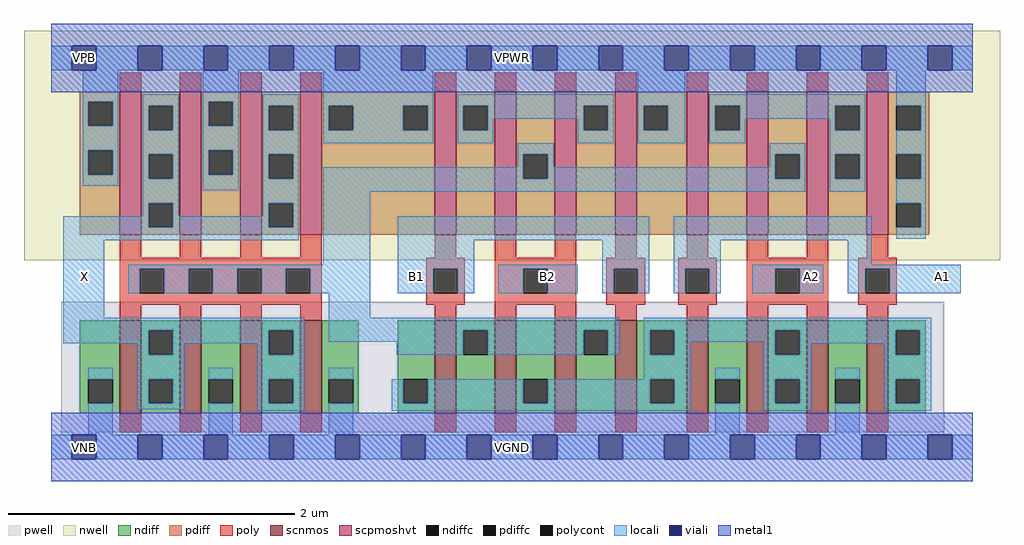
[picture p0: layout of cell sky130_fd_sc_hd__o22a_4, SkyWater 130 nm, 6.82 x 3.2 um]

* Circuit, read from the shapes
.subckt sky130_fd_sc_hd__o22a_4 A1 A2 B1 B2 VGND VNB VPB VPWR X
XM1 X n1 VGND VNB sky130_fd_pr__nfet_01v8 w=0.65 l=0.15 m=4
XM2 n1 B1 n2 VNB sky130_fd_pr__nfet_01v8 w=0.65 l=0.15 m=2
XM3 n2 B2 n1 VNB sky130_fd_pr__nfet_01v8 w=0.65 l=0.15 m=2
XM4 VGND A1 n2 VNB sky130_fd_pr__nfet_01v8 w=0.65 l=0.15 m=2
XM5 n2 A2 VGND VNB sky130_fd_pr__nfet_01v8 w=0.65 l=0.15 m=2
XM6 X n1 VPWR VPB sky130_fd_pr__pfet_01v8_hvt w=1 l=0.15 m=4
XM7 n3 B1 VPWR VPB sky130_fd_pr__pfet_01v8_hvt w=1 l=0.15 m=2
XM8 n1 B2 n3 VPB sky130_fd_pr__pfet_01v8_hvt w=1 l=0.15 m=2
XM9 n4 A1 VPWR VPB sky130_fd_pr__pfet_01v8_hvt w=1 l=0.15 m=2
XM10 n1 A2 n4 VPB sky130_fd_pr__pfet_01v8_hvt w=1 l=0.15 m=2
.ends

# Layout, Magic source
magic
tech sky130A
magscale 1 2
<< nwell >>
rect -38 261 1326 582
<< pwell >>
rect 14 21 1248 203
rect 29 -17 63 21
<< scnmos >>
rect 96 47 126 177
rect 180 47 210 177
rect 264 47 294 177
rect 348 47 378 177
rect 536 47 566 177
rect 620 47 650 177
rect 704 47 734 177
rect 788 47 818 177
rect 888 47 918 177
rect 972 47 1002 177
rect 1056 47 1086 177
rect 1140 47 1170 177
<< scpmoshvt >>
rect 96 297 126 497
rect 180 297 210 497
rect 264 297 294 497
rect 348 297 378 497
rect 536 297 566 497
rect 620 297 650 497
rect 704 297 734 497
rect 788 297 818 497
rect 888 297 918 497
rect 972 297 1002 497
rect 1056 297 1086 497
rect 1140 297 1170 497
<< ndiff >>
rect 40 95 96 177
rect 40 61 52 95
rect 86 61 96 95
rect 40 47 96 61
rect 126 163 180 177
rect 126 129 136 163
rect 170 129 180 163
rect 126 95 180 129
rect 126 61 136 95
rect 170 61 180 95
rect 126 47 180 61
rect 210 95 264 177
rect 210 61 220 95
rect 254 61 264 95
rect 210 47 264 61
rect 294 163 348 177
rect 294 129 304 163
rect 338 129 348 163
rect 294 95 348 129
rect 294 61 304 95
rect 338 61 348 95
rect 294 47 348 61
rect 378 95 430 177
rect 378 61 388 95
rect 422 61 430 95
rect 378 47 430 61
rect 484 95 536 177
rect 484 61 492 95
rect 526 61 536 95
rect 484 47 536 61
rect 566 163 620 177
rect 566 129 576 163
rect 610 129 620 163
rect 566 47 620 129
rect 650 95 704 177
rect 650 61 660 95
rect 694 61 704 95
rect 650 47 704 61
rect 734 163 788 177
rect 734 129 744 163
rect 778 129 788 163
rect 734 47 788 129
rect 818 163 888 177
rect 818 129 837 163
rect 871 129 888 163
rect 818 95 888 129
rect 818 61 837 95
rect 871 61 888 95
rect 818 47 888 61
rect 918 95 972 177
rect 918 61 928 95
rect 962 61 972 95
rect 918 47 972 61
rect 1002 163 1056 177
rect 1002 129 1012 163
rect 1046 129 1056 163
rect 1002 95 1056 129
rect 1002 61 1012 95
rect 1046 61 1056 95
rect 1002 47 1056 61
rect 1086 95 1140 177
rect 1086 61 1096 95
rect 1130 61 1140 95
rect 1086 47 1140 61
rect 1170 163 1222 177
rect 1170 129 1180 163
rect 1214 129 1222 163
rect 1170 95 1222 129
rect 1170 61 1180 95
rect 1214 61 1222 95
rect 1170 47 1222 61
<< pdiff >>
rect 40 483 96 497
rect 40 449 52 483
rect 86 449 96 483
rect 40 415 96 449
rect 40 381 52 415
rect 86 381 96 415
rect 40 297 96 381
rect 126 477 180 497
rect 126 443 136 477
rect 170 443 180 477
rect 126 409 180 443
rect 126 375 136 409
rect 170 375 180 409
rect 126 341 180 375
rect 126 307 136 341
rect 170 307 180 341
rect 126 297 180 307
rect 210 483 264 497
rect 210 449 220 483
rect 254 449 264 483
rect 210 415 264 449
rect 210 381 220 415
rect 254 381 264 415
rect 210 297 264 381
rect 294 477 348 497
rect 294 443 304 477
rect 338 443 348 477
rect 294 409 348 443
rect 294 375 304 409
rect 338 375 348 409
rect 294 341 348 375
rect 294 307 304 341
rect 338 307 348 341
rect 294 297 348 307
rect 378 477 536 497
rect 378 443 388 477
rect 422 443 492 477
rect 526 443 536 477
rect 378 297 536 443
rect 566 477 620 497
rect 566 443 576 477
rect 610 443 620 477
rect 566 297 620 443
rect 650 409 704 497
rect 650 375 660 409
rect 694 375 704 409
rect 650 297 704 375
rect 734 477 788 497
rect 734 443 744 477
rect 778 443 788 477
rect 734 297 788 443
rect 818 477 888 497
rect 818 443 828 477
rect 862 443 888 477
rect 818 297 888 443
rect 918 477 972 497
rect 918 443 928 477
rect 962 443 972 477
rect 918 297 972 443
rect 1002 409 1056 497
rect 1002 375 1012 409
rect 1046 375 1056 409
rect 1002 297 1056 375
rect 1086 477 1140 497
rect 1086 443 1096 477
rect 1130 443 1140 477
rect 1086 409 1140 443
rect 1086 375 1096 409
rect 1130 375 1140 409
rect 1086 297 1140 375
rect 1170 477 1227 497
rect 1170 443 1181 477
rect 1215 443 1227 477
rect 1170 409 1227 443
rect 1170 375 1181 409
rect 1215 375 1227 409
rect 1170 341 1227 375
rect 1170 307 1181 341
rect 1215 307 1227 341
rect 1170 297 1227 307
<< ndiffc >>
rect 52 61 86 95
rect 136 129 170 163
rect 136 61 170 95
rect 220 61 254 95
rect 304 129 338 163
rect 304 61 338 95
rect 388 61 422 95
rect 492 61 526 95
rect 576 129 610 163
rect 660 61 694 95
rect 744 129 778 163
rect 837 129 871 163
rect 837 61 871 95
rect 928 61 962 95
rect 1012 129 1046 163
rect 1012 61 1046 95
rect 1096 61 1130 95
rect 1180 129 1214 163
rect 1180 61 1214 95
<< pdiffc >>
rect 52 449 86 483
rect 52 381 86 415
rect 136 443 170 477
rect 136 375 170 409
rect 136 307 170 341
rect 220 449 254 483
rect 220 381 254 415
rect 304 443 338 477
rect 304 375 338 409
rect 304 307 338 341
rect 388 443 422 477
rect 492 443 526 477
rect 576 443 610 477
rect 660 375 694 409
rect 744 443 778 477
rect 828 443 862 477
rect 928 443 962 477
rect 1012 375 1046 409
rect 1096 443 1130 477
rect 1096 375 1130 409
rect 1181 443 1215 477
rect 1181 375 1215 409
rect 1181 307 1215 341
<< poly >>
rect 96 497 126 523
rect 180 497 210 523
rect 264 497 294 523
rect 348 497 378 523
rect 536 497 566 523
rect 620 497 650 523
rect 704 497 734 523
rect 788 497 818 523
rect 888 497 918 523
rect 972 497 1002 523
rect 1056 497 1086 523
rect 1140 497 1170 523
rect 96 265 126 297
rect 180 265 210 297
rect 264 265 294 297
rect 348 265 378 297
rect 536 265 566 297
rect 620 265 650 297
rect 704 265 734 297
rect 788 265 818 297
rect 888 265 918 297
rect 972 265 1002 297
rect 1056 265 1086 297
rect 1140 265 1170 297
rect 96 249 378 265
rect 96 215 124 249
rect 158 215 192 249
rect 226 215 260 249
rect 294 215 328 249
rect 362 215 378 249
rect 96 199 378 215
rect 524 249 578 265
rect 524 215 534 249
rect 568 215 578 249
rect 524 199 578 215
rect 620 249 734 265
rect 620 215 660 249
rect 694 215 734 249
rect 620 199 734 215
rect 776 249 830 265
rect 776 215 786 249
rect 820 215 830 249
rect 776 199 830 215
rect 876 249 930 265
rect 876 215 886 249
rect 920 215 930 249
rect 876 199 930 215
rect 972 249 1086 265
rect 972 215 1012 249
rect 1046 215 1086 249
rect 972 199 1086 215
rect 1128 249 1182 265
rect 1128 215 1138 249
rect 1172 215 1182 249
rect 1128 199 1182 215
rect 96 177 126 199
rect 180 177 210 199
rect 264 177 294 199
rect 348 177 378 199
rect 536 177 566 199
rect 620 177 650 199
rect 704 177 734 199
rect 788 177 818 199
rect 888 177 918 199
rect 972 177 1002 199
rect 1056 177 1086 199
rect 1140 177 1170 199
rect 96 21 126 47
rect 180 21 210 47
rect 264 21 294 47
rect 348 21 378 47
rect 536 21 566 47
rect 620 21 650 47
rect 704 21 734 47
rect 788 21 818 47
rect 888 21 918 47
rect 972 21 1002 47
rect 1056 21 1086 47
rect 1140 21 1170 47
<< polycont >>
rect 124 215 158 249
rect 192 215 226 249
rect 260 215 294 249
rect 328 215 362 249
rect 534 215 568 249
rect 660 215 694 249
rect 786 215 820 249
rect 886 215 920 249
rect 1012 215 1046 249
rect 1138 215 1172 249
<< locali >>
rect 0 527 29 561
rect 63 527 121 561
rect 155 527 213 561
rect 247 527 305 561
rect 339 527 397 561
rect 431 527 489 561
rect 523 527 581 561
rect 615 527 673 561
rect 707 527 765 561
rect 799 527 857 561
rect 891 527 949 561
rect 983 527 1041 561
rect 1075 527 1133 561
rect 1167 527 1225 561
rect 1259 527 1288 561
rect 44 483 94 527
rect 44 449 52 483
rect 86 449 94 483
rect 44 415 94 449
rect 44 381 52 415
rect 86 381 94 415
rect 44 365 94 381
rect 128 477 178 493
rect 128 443 136 477
rect 170 443 178 477
rect 128 409 178 443
rect 128 375 136 409
rect 170 375 178 409
rect 128 341 178 375
rect 212 483 262 527
rect 212 449 220 483
rect 254 449 262 483
rect 212 415 262 449
rect 212 381 220 415
rect 254 381 262 415
rect 212 359 262 381
rect 296 477 346 493
rect 296 443 304 477
rect 338 443 346 477
rect 296 409 346 443
rect 380 477 534 527
rect 380 443 388 477
rect 422 443 492 477
rect 526 443 534 477
rect 380 425 534 443
rect 568 477 786 493
rect 568 443 576 477
rect 610 459 744 477
rect 610 443 618 459
rect 568 425 618 443
rect 736 443 744 459
rect 778 443 786 477
rect 736 425 786 443
rect 820 477 886 527
rect 820 443 828 477
rect 862 443 886 477
rect 820 425 886 443
rect 920 477 1138 493
rect 920 443 928 477
rect 962 459 1096 477
rect 962 443 970 459
rect 920 425 970 443
rect 1088 443 1096 459
rect 1130 443 1138 477
rect 296 375 304 409
rect 338 375 346 409
rect 652 409 702 425
rect 652 391 660 409
rect 128 323 136 341
rect 17 307 136 323
rect 170 323 178 341
rect 296 341 346 375
rect 296 323 304 341
rect 170 307 304 323
rect 338 307 346 341
rect 17 289 346 307
rect 380 375 660 391
rect 694 391 702 409
rect 1004 409 1054 425
rect 1004 391 1012 409
rect 694 375 1012 391
rect 1046 375 1054 409
rect 380 357 1054 375
rect 1088 409 1138 443
rect 1088 375 1096 409
rect 1130 375 1138 409
rect 1088 357 1138 375
rect 1181 477 1222 527
rect 1215 443 1222 477
rect 1181 409 1222 443
rect 1215 375 1222 409
rect 17 181 74 289
rect 380 255 446 357
rect 1181 341 1222 375
rect 108 249 446 255
rect 108 215 124 249
rect 158 215 192 249
rect 226 215 260 249
rect 294 215 328 249
rect 362 215 446 249
rect 484 289 836 323
rect 484 249 591 289
rect 484 215 534 249
rect 568 215 591 249
rect 625 249 736 255
rect 625 215 660 249
rect 694 215 736 249
rect 770 249 836 289
rect 770 215 786 249
rect 820 215 836 249
rect 870 289 1147 323
rect 1215 307 1222 341
rect 1181 291 1222 307
rect 870 249 936 289
rect 1113 255 1147 289
rect 870 215 886 249
rect 920 215 936 249
rect 980 249 1079 255
rect 980 215 1012 249
rect 1046 215 1079 249
rect 1113 249 1271 255
rect 1113 215 1138 249
rect 1172 215 1271 249
rect 388 181 446 215
rect 17 163 354 181
rect 17 145 136 163
rect 120 129 136 145
rect 170 145 304 163
rect 170 129 186 145
rect 52 95 86 111
rect 52 17 86 61
rect 120 95 186 129
rect 288 129 304 145
rect 338 129 354 163
rect 388 163 794 181
rect 388 147 576 163
rect 483 129 576 147
rect 610 129 744 163
rect 778 129 794 163
rect 828 163 1230 181
rect 828 129 837 163
rect 871 147 1012 163
rect 871 129 894 147
rect 120 61 136 95
rect 170 61 186 95
rect 120 53 186 61
rect 220 95 254 111
rect 220 17 254 61
rect 288 95 354 129
rect 288 61 304 95
rect 338 61 354 95
rect 288 51 354 61
rect 388 95 422 111
rect 828 95 894 129
rect 996 129 1012 147
rect 1046 145 1180 163
rect 1046 129 1062 145
rect 388 17 422 61
rect 476 61 492 95
rect 526 61 660 95
rect 694 61 837 95
rect 871 61 894 95
rect 476 51 894 61
rect 928 95 962 111
rect 928 17 962 61
rect 996 95 1062 129
rect 1164 129 1180 145
rect 1214 129 1230 163
rect 996 61 1012 95
rect 1046 61 1062 95
rect 996 51 1062 61
rect 1096 95 1130 111
rect 1096 17 1130 61
rect 1164 95 1230 129
rect 1164 61 1180 95
rect 1214 61 1230 95
rect 1164 51 1230 61
rect 0 -17 29 17
rect 63 -17 121 17
rect 155 -17 213 17
rect 247 -17 305 17
rect 339 -17 397 17
rect 431 -17 489 17
rect 523 -17 581 17
rect 615 -17 673 17
rect 707 -17 765 17
rect 799 -17 857 17
rect 891 -17 949 17
rect 983 -17 1041 17
rect 1075 -17 1133 17
rect 1167 -17 1225 17
rect 1259 -17 1288 17
<< viali >>
rect 29 527 63 561
rect 121 527 155 561
rect 213 527 247 561
rect 305 527 339 561
rect 397 527 431 561
rect 489 527 523 561
rect 581 527 615 561
rect 673 527 707 561
rect 765 527 799 561
rect 857 527 891 561
rect 949 527 983 561
rect 1041 527 1075 561
rect 1133 527 1167 561
rect 1225 527 1259 561
rect 29 -17 63 17
rect 121 -17 155 17
rect 213 -17 247 17
rect 305 -17 339 17
rect 397 -17 431 17
rect 489 -17 523 17
rect 581 -17 615 17
rect 673 -17 707 17
rect 765 -17 799 17
rect 857 -17 891 17
rect 949 -17 983 17
rect 1041 -17 1075 17
rect 1133 -17 1167 17
rect 1225 -17 1259 17
<< metal1 >>
rect 0 561 1288 592
rect 0 527 29 561
rect 63 527 121 561
rect 155 527 213 561
rect 247 527 305 561
rect 339 527 397 561
rect 431 527 489 561
rect 523 527 581 561
rect 615 527 673 561
rect 707 527 765 561
rect 799 527 857 561
rect 891 527 949 561
rect 983 527 1041 561
rect 1075 527 1133 561
rect 1167 527 1225 561
rect 1259 527 1288 561
rect 0 496 1288 527
rect 0 17 1288 48
rect 0 -17 29 17
rect 63 -17 121 17
rect 155 -17 213 17
rect 247 -17 305 17
rect 339 -17 397 17
rect 431 -17 489 17
rect 523 -17 581 17
rect 615 -17 673 17
rect 707 -17 765 17
rect 799 -17 857 17
rect 891 -17 949 17
rect 983 -17 1041 17
rect 1075 -17 1133 17
rect 1167 -17 1225 17
rect 1259 -17 1288 17
rect 0 -48 1288 -17
<< labels >>
flabel locali s 677 221 711 255 0 FreeSans 400 0 0 0 B2
port 4 nsew signal input
flabel locali s 493 221 527 255 0 FreeSans 400 0 0 0 B1
port 3 nsew signal input
flabel locali s 29 221 63 255 0 FreeSans 400 0 0 0 X
port 9 nsew signal output
flabel locali s 1229 221 1263 255 0 FreeSans 400 180 0 0 A1
port 1 nsew signal input
flabel locali s 1045 221 1079 255 0 FreeSans 400 180 0 0 A2
port 2 nsew signal input
flabel pwell s 29 -17 63 17 0 FreeSans 200 0 0 0 VNB
port 6 nsew ground bidirectional
flabel nwell s 29 527 63 561 0 FreeSans 200 0 0 0 VPB
port 7 nsew power bidirectional
flabel metal1 s 29 -17 63 17 0 FreeSans 200 0 0 0 VGND
port 5 nsew ground bidirectional abutment
flabel metal1 s 29 527 63 561 0 FreeSans 200 0 0 0 VPWR
port 8 nsew power bidirectional abutment
rlabel comment s 0 0 0 0 4 o22a_4
rlabel metal1 s 0 -48 1288 48 1 VGND
port 5 nsew ground bidirectional abutment
rlabel metal1 s 0 496 1288 592 1 VPWR
port 8 nsew power bidirectional abutment
<< properties >>
string FIXED_BBOX 0 0 1288 544
string GDS_END 1370432
string GDS_FILE $PDKPATH/libs.ref/sky130_fd_sc_hd/gds/sky130_fd_sc_hd.gds
string GDS_START 1360806
string LEFclass CORE
string LEFsite unithd
string LEFsymmetry X Y R90
string path 0.000 0.000 6.440 0.000 
<< end >>
